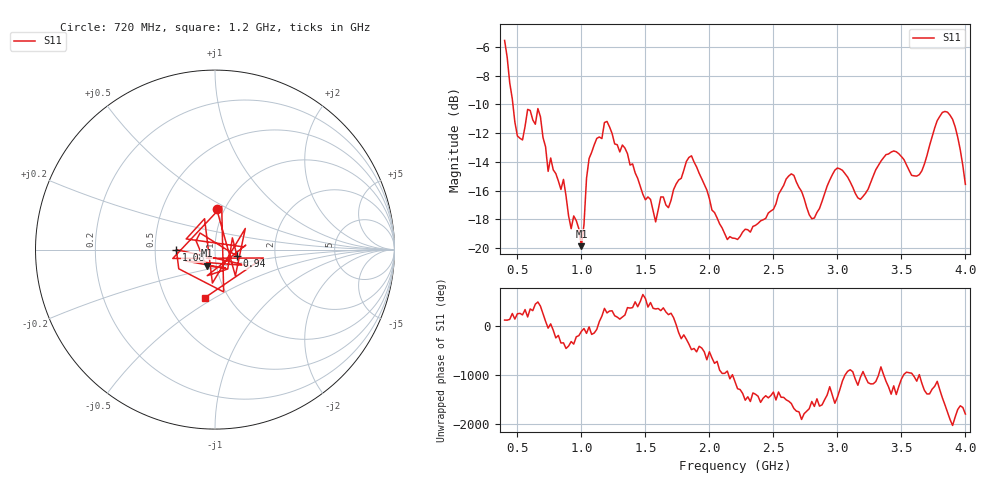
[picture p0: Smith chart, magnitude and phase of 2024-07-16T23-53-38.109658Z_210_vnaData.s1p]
!Created with skrf (http://scikit-rf.org).
# Hz S RI R 50.0
!freq ReS11 ImS11
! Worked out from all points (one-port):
!   181 points, 400 MHz to 4 GHz, reference 50 ohm
!   lowest |S11| = -19.9 dB at 1 GHz (marker M1), VSWR 1.23, Z = 44.8 - j8.12 ohm
!   |S11| at or under -10 dB: 464.8 MHz to end of sweep
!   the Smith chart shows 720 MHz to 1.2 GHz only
!   S11 on the Smith chart (normalised r, x): 720 MHz: 0.92, +0.44; 940 MHz: 1.28, -0.10; 1.08 GHz: 0.65, -0.00; 1.2 GHz: 0.77, -0.45
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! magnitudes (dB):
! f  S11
! 400 MHz  -5.5
! 500 MHz  -12.2
! 660 MHz  -10.3
! 720 MHz  -13.0
! 740 MHz  -14.7
! 860 MHz  -15.2
! 920 MHz  -18.7
! 940 MHz  -17.8
! 1 GHz  -19.9
! 1.04 GHz  -15.2
! 1.08 GHz  -13.3
! 1.2 GHz  -11.2
! 1.3 GHz  -13.3
! 1.58 GHz  -18.2
! 1.76 GHz  -15.3
! 1.86 GHz  -13.6
! 2.2 GHz  -19.3
! 2.66 GHz  -14.9
! 2.8 GHz  -18.0
! 2.98 GHz  -14.6
! 3.1 GHz  -15.4
! 3.18 GHz  -16.6
! 3.44 GHz  -13.2
! 3.56 GHz  -14.6
! 3.66 GHz  -14.6
! 3.84 GHz  -10.5
! 3.92 GHz  -11.6
! 4 GHz  -15.6
